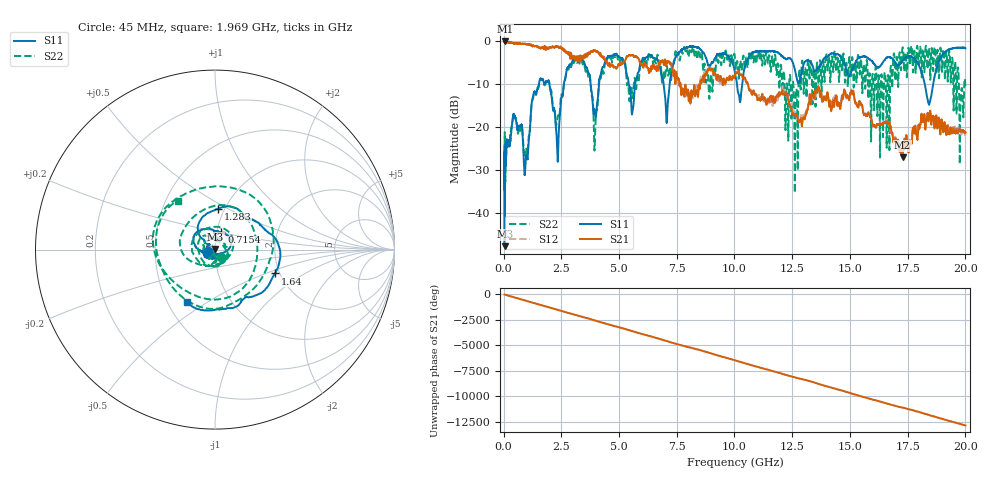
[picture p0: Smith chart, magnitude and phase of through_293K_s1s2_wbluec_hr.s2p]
!Agilent Technologies,E8364A,US41440322,A.04.87.01
!Agilent E8364A: A.04.87.01
!Date: Thursday, July 11, 2024 14:17:47
!Correction: S11(Full 2 Port SOLT,1,2) S21(Full 2 Port SOLT,1,2) S12(Full 2 Port SOLT,1,2) S22(Full 2 Port SOLT,1,2)
!S2P File: Measurements: S11, S21, S12, S22:
# Hz S  dB  R 50
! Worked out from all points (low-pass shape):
!   12801 points, 45 MHz to 20 GHz, reference 50 ohm
!   highest |S21| = -0.04 dB at 51.24 MHz (marker M1); lowest = -27.1 dB at 17.28 GHz (marker M2)
!   |S21| within 3 dB of the highest: start of sweep to 2.806 GHz; 3.647 GHz to 4.142 GHz (495.5 MHz wide, 12.7 % of centre)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
!   lowest |S11| = -47.9 dB at 46.56 MHz (marker M3), VSWR 1.01, Z = 50.3 + j0.306 ohm
!   |S11| at or under -10 dB: start of sweep to 1.534 GHz; 1.983 GHz to 2.615 GHz (632.2 MHz wide, 27.5 % of centre); 18.24 GHz to 18.61 GHz (366.9 MHz wide, 1.99 % of centre)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
!   |S22| runs from -36.3 to -1.1 dB; largest |S21 - S12| = 0.12
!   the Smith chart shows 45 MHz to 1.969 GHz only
!   S11 on the Smith chart (normalised r, x): 45 MHz: 0.93, -0.01; 715.4 MHz: 1.05, +0.20; 1.283 GHz: 0.93, +0.45; 1.64 GHz: 1.88, -0.58; 1.969 GHz: 0.63, -0.41
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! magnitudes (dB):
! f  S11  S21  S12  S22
! 45 MHz  -28.4  -0.2  -0.2  -25.3
! 46.56 MHz  -47.9  -0.2  -0.1  -25.4
! 51.24 MHz  -24.1  0.0  -0.4  -21.3
! 715.4 MHz  -19.8  -0.6  -0.6  -20.8
! 971 MHz  -27.1  -0.7  -0.7  -25.5
! 1.283 GHz  -12.8  -1.0  -1.0  -13.1
! 1.64 GHz  -8.9  -1.5  -1.5  -9.1
! 1.969 GHz  -9.6  -1.6  -1.7  -9.3
! 2.338 GHz  -27.8  -1.4  -1.4  -17.9
! 3.372 GHz  -4.1  -4.5  -3.7  -4.5
! 3.978 GHz  -17.3  -2.2  -2.2  -19.5
! 4.48 GHz  -4.1  -5.0  -4.9  -4.4
! 5.573 GHz  -16.7  -3.3  -3.3  -12.6
! 6.697 GHz  -4.8  -6.9  -6.4  -3.7
! 7.064 GHz  -19.1  -5.0  -5.0  -5.7
! 10.02 GHz  -7.5  -7.9  -7.6  -3.9
! 12.67 GHz  -7.9  -17.3  -17.6  -11.7
! 13.35 GHz  -5.4  -12.3  -12.3  -7.9
! 16.67 GHz  -3.7  -19.2  -19.2  -9.3
! 17.28 GHz  -4.6  -27.1  -25.7  -1.5
! 18.43 GHz  -14.7  -17.1  -17.7  -1.9
! 20 GHz  -1.7  -21.3  -21.7  -11.2
